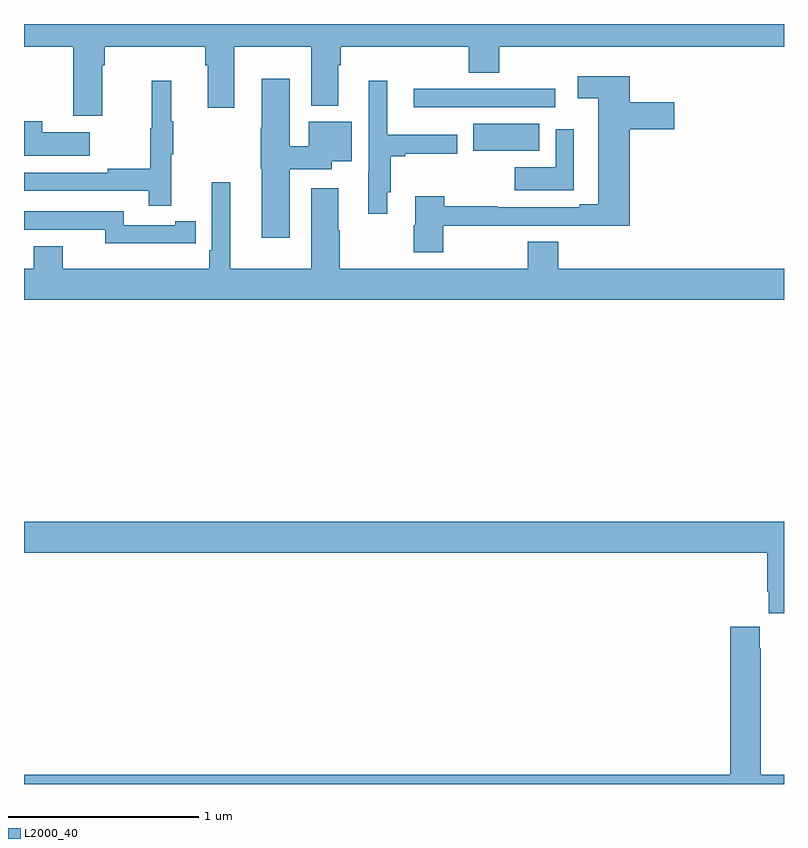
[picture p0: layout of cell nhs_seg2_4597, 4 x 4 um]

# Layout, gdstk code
import gdstk
lib = gdstk.Library(unit=1e-6, precision=1e-09)
def R(c, l, rs):  # rectangles x0, y0, x1, y1
    for r in rs: c.add(gdstk.rectangle(r[:2], r[2:], *l))
def P(c, l, *ps):  # polygons
    for p in ps: c.add(gdstk.Polygon(p, *l))
L2000_40 = (2000, 40)

nhs_seg2_4597 = lib.new_cell('nhs_seg2_4597')
R(nhs_seg2_4597, L2000_40, [(363.364,603.134,363.713,603.274)])
P(nhs_seg2_4597, L2000_40, [(361.411,603.584),(361.424,603.584),(361.424,603.68),(361.955,603.68),(361.955,603.584),(361.967,603.584),(361.967,603.36),(362.107,603.36),(362.107,603.68),(362.513,603.68),(362.513,603.371),(362.653,603.371),(362.653,603.584),(362.666,603.584),(362.666,603.68),(363.341,603.68),(363.341,603.544),(363.501,603.544),(363.501,603.68),(365,603.68),(365,603.8),(361,603.8),(361,603.68),(361.259,603.68),(361.259,603.318),(361.411,603.318)],
  [(363.207,602.737),(363.563,602.737),(363.563,602.739),(363.926,602.739),(363.926,602.737),(364.187,602.737),(364.187,603.245),(364.423,603.245),(364.423,603.387),(364.187,603.387),(364.187,603.526),(363.915,603.526),(363.915,603.409),(364.022,603.409),(364.022,602.851),(363.926,602.851),(363.926,602.835),(363.494,602.835),(363.494,602.84),(363.212,602.84),(363.212,602.893),(363.059,602.893),(363.059,602.742),(363.052,602.742),(363.052,602.598),(363.207,602.598)],
  [(362.398,603.035),(362.62,603.035),(362.62,603.077),(362.725,603.077),(362.725,603.286),(362.498,603.286),(362.498,603.157),(362.398,603.157),(362.398,603.511),(362.252,603.511),(362.252,603.253),(362.245,603.253),(362.245,603.039),(362.252,603.039),(362.252,602.676),(362.398,602.676)],
  [(361.775,603.115),(361.786,603.115),(361.786,603.289),(361.775,603.289),(361.775,603.502),(361.672,603.502),(361.672,603.252),(361.665,603.252),(361.665,603.038),(361.441,603.038),(361.441,603.018),(361,603.018),(361,602.922),(361.657,602.922),(361.657,602.844),(361.775,602.844)],
  [(362.911,602.914),(362.93,602.914),(362.93,603.104),(363.007,603.104),(363.007,603.118),(363.279,603.118),(363.279,603.217),(362.911,603.217),(362.911,603.502),(362.814,603.502),(362.814,603.023),(362.813,603.023),(362.813,602.802),(362.911,602.802)],
  [(363.27,603.363),(363.796,603.363),(363.796,603.459),(363.051,603.459),(363.051,603.362),(363.27,603.362)],
  [(361.345,603.229),(361.097,603.229),(361.097,603.289),(361,603.289),(361,603.107),(361.345,603.107)],
  [(363.894,603.247),(363.798,603.247),(363.798,603.046),(363.582,603.046),(363.582,602.925),(363.894,602.925)],
  [(365,602.512),(363.812,602.512),(363.812,602.654),(363.652,602.654),(363.652,602.512),(362.661,602.512),(362.661,602.714),(362.653,602.714),(362.653,602.935),(362.513,602.935),(362.513,602.512),(362.086,602.512),(362.086,602.968),(361.989,602.968),(361.989,602.608),(361.976,602.608),(361.976,602.512),(361.204,602.512),(361.204,602.629),(361.052,602.629),(361.052,602.512),(361,602.512),(361,602.348),(365,602.348)],
  [(361.796,602.646),(361.904,602.646),(361.904,602.762),(361.796,602.762),(361.796,602.742),(361.524,602.742),(361.524,602.814),(361,602.814),(361,602.718),(361.428,602.718),(361.428,602.645),(361.796,602.645)],
  [(365,601.18),(361,601.18),(361,601.016),(364.913,601.016),(364.913,600.811),(364.919,600.811),(364.919,600.699),(365,600.699)],
  [(365,599.848),(364.878,599.848),(364.878,600.515),(364.873,600.515),(364.873,600.628),(364.718,600.628),(364.718,599.848),(361,599.848),(361,599.8),(365,599.8)])

lib.write_gds('nhs_seg2_4597.gds')
